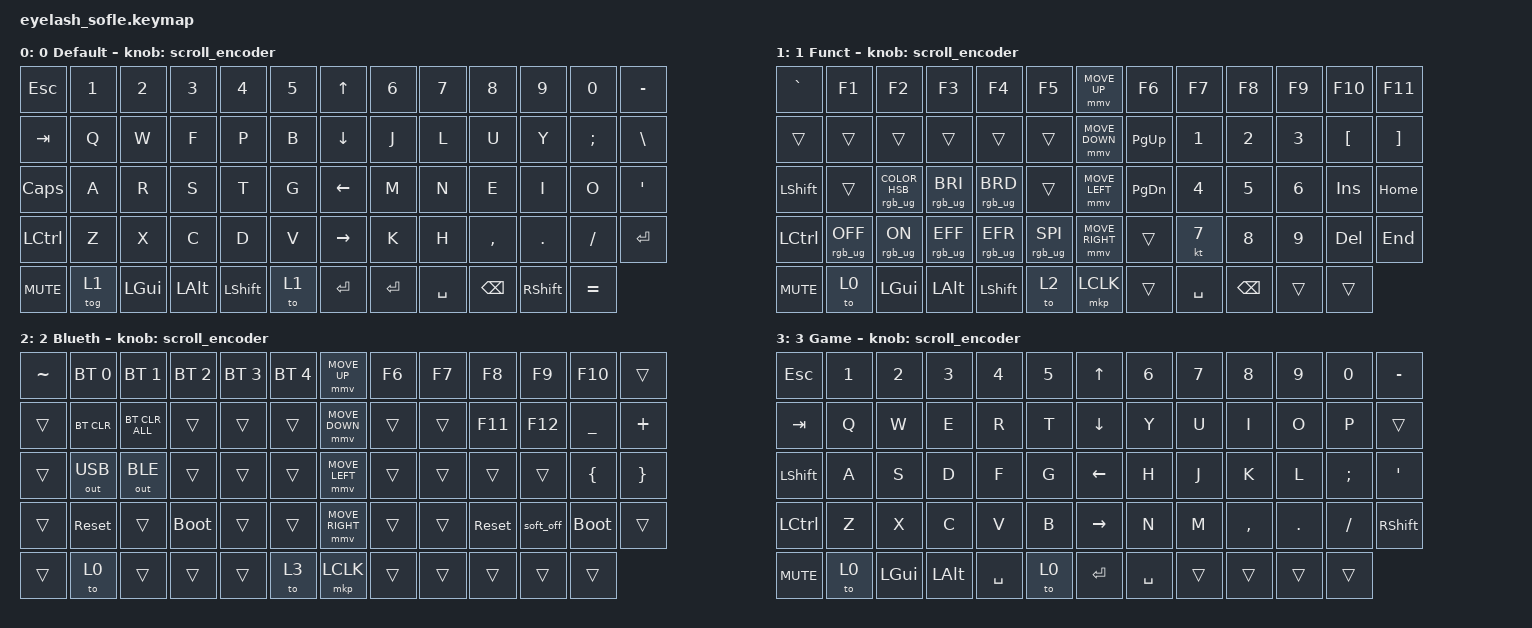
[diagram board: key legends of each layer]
#define ZMK_POINTING_DEFAULT_MOVE_VAL 1200  // 600
#define ZMK_POINTING_DEFAULT_SCRL_VAL 25   // 10

#include <input/processors.dtsi>
#include <zephyr/dt-bindings/input/input-event-codes.h>
#include <behaviors.dtsi>
#include <dt-bindings/zmk/bt.h>
#include <dt-bindings/zmk/keys.h>
#include <dt-bindings/zmk/outputs.h>
#include <dt-bindings/zmk/pointing.h>
#include <dt-bindings/zmk/rgb.h>

&mmv_input_listener { input-processors = <&zip_xy_scaler 2 1>; };

&msc_input_listener { input-processors = <&zip_scroll_scaler 2 1>; };

&msc {
    acceleration-exponent = <1>;      // 0
    time-to-max-speed-ms = <100>;       // 300
    delay-ms = <0>;                   // 0
};

&mmv {
    time-to-max-speed-ms = <500>;
    acceleration-exponent = <1>;
    trigger-period-ms = <16>;
};

/ {
    scroll_encoder: scroll_encoder {
        compatible = "zmk,behavior-sensor-rotate";
        #sensor-binding-cells = <0>;
        bindings = <&msc SCRL_DOWN>, <&msc SCRL_UP>;

        tap-ms = <100>;
    };

    behaviors {
    };

    combos { compatible = "zmk,combos"; };

    keymap {
        compatible = "zmk,keymap";

        layer0 {
            bindings = <
&kp ESCAPE  &kp N1  &kp N2        &kp N3        &kp N4          &kp N5    &kp UP_ARROW     &kp N6     &kp N7     &kp N8         &kp N9           &kp N0         &kp MINUS
&kp TAB     &kp Q   &kp W         &kp F         &kp P           &kp B     &kp DOWN_ARROW   &kp J      &kp L      &kp U          &kp Y            &kp SEMICOLON  &kp BSLH
&kp CAPS    &kp A   &kp R         &kp S         &kp T           &kp G     &kp LEFT_ARROW   &kp M      &kp N      &kp E          &kp I            &kp O          &kp APOS
&kp LCTRL   &kp Z   &kp X         &kp C         &kp D           &kp V     &kp RIGHT_ARROW  &kp K      &kp H      &kp COMMA      &kp DOT          &kp FSLH       &kp ENTER
&kp C_MUTE  &tog 1  &kp LEFT_GUI  &kp LEFT_ALT  &kp LEFT_SHIFT  &to 1     &kp ENTER        &kp ENTER  &kp SPACE  &kp BACKSPACE  &kp RIGHT_SHIFT  &kp EQUAL
            >;

            sensor-bindings = <&scroll_encoder>;
            display-name = "0 Default";
        };

        Functions {
            bindings = <
&kp GRAVE   &kp F1           &kp F2                            &kp F3           &kp F4           &kp F5             &mmv MOVE_UP     &kp F6     &kp F7        &kp F8    &kp F9  &kp F10   &kp F11
&trans      &trans           &trans                            &trans           &trans           &trans             &mmv MOVE_DOWN   &kp PG_UP  &kp N1        &kp N2    &kp N3  &kp LBKT  &kp RBKT
&kp LSHFT   &trans           &rgb_ug RGB_COLOR_HSB(41,100,98)  &rgb_ug RGB_BRI  &rgb_ug RGB_BRD  &trans             &mmv MOVE_LEFT   &kp PG_DN  &kp N4        &kp N5    &kp N6  &kp INS   &kp HOME
&kp LCTRL   &rgb_ug RGB_OFF  &rgb_ug RGB_ON                    &rgb_ug RGB_EFF  &rgb_ug RGB_EFR  &rgb_ug RGB_SPI    &mmv MOVE_RIGHT  &trans     &kt NUMBER_7  &kp N8    &kp N9  &kp DEL   &kp END
&kp C_MUTE  &to 0            &kp LGUI                          &kp LALT         &kp LEFT_SHIFT   &to 2              &mkp LCLK        &trans     &kp SPACE     &kp BSPC  &trans  &trans
            >;

            display-name = "1 Funct";
            sensor-bindings = <&scroll_encoder>;
        };

        Bluetooth {
            bindings = <
&kp TILDE  &bt BT_SEL 0  &bt BT_SEL 1    &bt BT_SEL 2  &bt BT_SEL 3  &bt BT_SEL 4    &mmv MOVE_UP     &kp F6  &kp F7  &kp F8      &kp F9     &kp F10      &trans
&trans     &bt BT_CLR    &bt BT_CLR_ALL  &trans        &trans        &trans          &mmv MOVE_DOWN   &trans  &trans  &kp F11     &kp F12    &kp UNDER    &kp PLUS
&trans     &out OUT_USB  &out OUT_BLE    &trans        &trans        &trans          &mmv MOVE_LEFT   &trans  &trans  &trans      &trans     &kp LBRC     &kp RBRC
&trans     &sys_reset    &trans          &bootloader   &trans        &trans          &mmv MOVE_RIGHT  &trans  &trans  &sys_reset  &soft_off  &bootloader  &trans
&trans     &to 0         &trans          &trans        &trans        &to 3           &mkp LCLK        &trans  &trans  &trans      &trans     &trans
            >;

            sensor-bindings = <&scroll_encoder>;
            label = "2 Blueth";
        };

        Gaming {
            bindings = <
&kp ESC     &kp N1  &kp N2    &kp N3    &kp N4     &kp N5    &kp UP          &kp N6     &kp N7  &kp N8     &kp N9   &kp N0    &kp MINUS
&kp TAB     &kp Q   &kp W     &kp E     &kp R      &kp T     &kp DOWN        &kp Y      &kp U   &kp I      &kp O    &kp P     &trans
&kp LSHFT   &kp A   &kp S     &kp D     &kp F      &kp G     &kp LEFT_ARROW  &kp H      &kp J   &kp K      &kp L    &kp SEMI  &kp SQT
&kp LCTRL   &kp Z   &kp X     &kp C     &kp V      &kp B     &kp RIGHT       &kp N      &kp M   &kp COMMA  &kp DOT  &kp FSLH  &kp RSHFT
&kp C_MUTE  &to 0   &kp LGUI  &kp LALT  &kp SPACE  &to 0     &kp RET         &kp SPACE  &trans  &trans     &trans   &trans
            >;

            sensor-bindings = <&scroll_encoder>;
            label = "3 Game";
        };
    };
};
